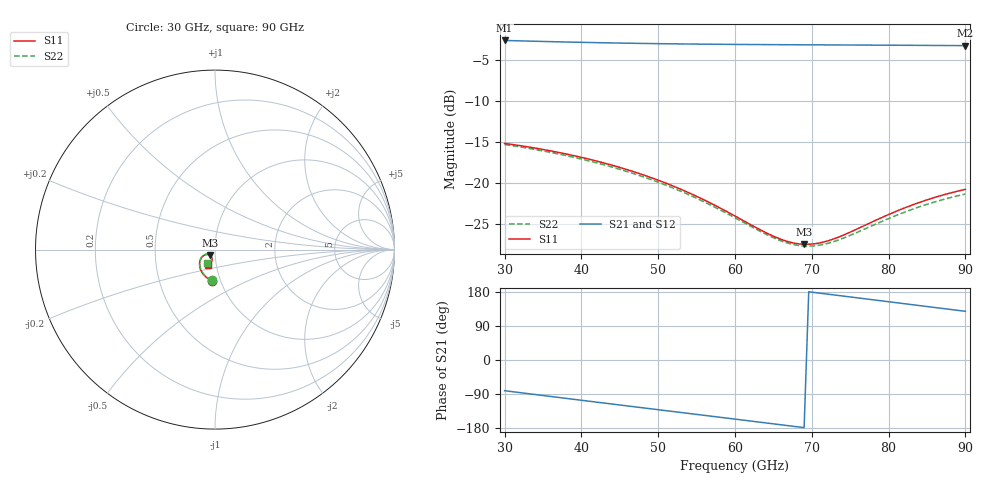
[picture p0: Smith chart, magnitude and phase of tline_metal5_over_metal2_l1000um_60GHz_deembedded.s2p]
! Created with skrf 2.0.1 (http://scikit-rf.org).
# GHz S DB R 50.0
!freq dBS11 angS11 dBS21 angS21 dBS12 angS12 dBS22 angS22
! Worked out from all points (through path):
!   101 points, 30 GHz to 90 GHz, reference 50 ohm
!   highest |S21| = -2.59 dB at 30 GHz (marker M1); lowest = -3.2 dB at 90 GHz (marker M2)
!   group delay of S21, straight-line fit = 6.95 ps
!   lowest |S11| = -27.5 dB at 69 GHz (marker M3), VSWR 1.09, Z = 47.3 - j3.09 ohm
!   |S11| at or under -10 dB: start of sweep to end of sweep
!   |S22| runs from -27.8 to -15.3 dB; largest |S21 - S12| = 8.1e-14
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30  -15.19 -95.0  -2.59 -81.0  -2.59 -81.0  -15.34 -95.4
32.4  -15.52 -101.9  -2.65 -87.1  -2.65 -87.1  -15.68 -102.4
34.8  -15.90 -108.5  -2.70 -93.2  -2.70 -93.2  -16.08 -109.2
37.2  -16.33 -114.9  -2.76 -99.2  -2.76 -99.2  -16.52 -115.7
40.2  -16.95 -122.5  -2.82 -106.7  -2.82 -106.7  -17.15 -123.4
42.6  -17.51 -128.3  -2.87 -112.7  -2.87 -112.7  -17.73 -129.3
45  -18.13 -133.7  -2.91 -118.7  -2.91 -118.7  -18.37 -134.9
47.4  -18.84 -138.6  -2.94 -124.7  -2.94 -124.7  -19.08 -140.0
50.4  -19.84 -144.1  -2.98 -132.1  -2.98 -132.1  -20.08 -145.7
55.2  -21.76 -150.5  -3.03 -144.1  -3.03 -144.1  -22.00 -152.4
60  -24.08 -152.0  -3.07 -156.0  -3.07 -156.0  -24.30 -154.3
63  -25.63 -148.6  -3.09 -163.5  -3.09 -163.5  -25.82 -151.4
65.4  -26.72 -142.7  -3.10 -169.5  -3.10 -169.5  -26.90 -146.0
67.2  -27.29 -136.4  -3.11 -174.0  -3.11 -174.0  -27.48 -140.2
69  -27.54 -129.1  -3.12 -178.5  -3.12 -178.5  -27.76 -133.4
70.2  -27.50 -124.1  -3.12 178.5  -3.12 178.5  -27.75 -128.8
72  -27.15 -117.4  -3.13 174.0  -3.13 174.0  -27.45 -122.3
73.8  -26.54 -112.0  -3.14 169.4  -3.14 169.4  -26.90 -117.2
76.8  -25.27 -106.6  -3.15 161.9  -3.15 161.9  -25.71 -112.0
80.4  -23.74 -105.1  -3.17 152.8  -3.17 152.8  -24.24 -110.5
85.2  -22.04 -108.0  -3.19 140.6  -3.19 140.6  -22.59 -113.7
90  -20.82 -114.1  -3.22 128.5  -3.22 128.5  -21.40 -120.0
